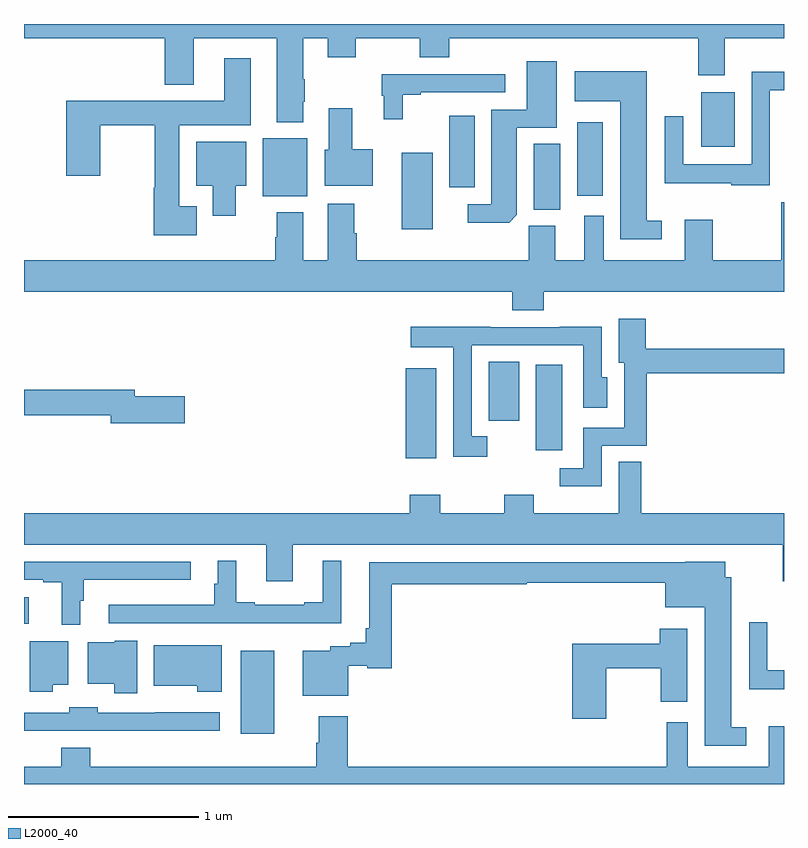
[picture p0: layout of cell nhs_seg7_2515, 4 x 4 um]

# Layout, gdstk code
import gdstk
lib = gdstk.Library(unit=1e-6, precision=1e-09)
def R(c, l, rs):  # rectangles x0, y0, x1, y1
    for r in rs: c.add(gdstk.rectangle(r[:2], r[2:], *l))
def P(c, l, *ps):  # polygons
    for p in ps: c.add(gdstk.Polygon(p, *l))
L2000_40 = (2000, 40)

nhs_seg7_2515 = lib.new_cell('nhs_seg7_2515')
R(nhs_seg7_2515, L2000_40, [(276.14,1022.264,276.316,1022.701), (275,1022.843,275.026,1022.983), (277.01,1023.714,277.171,1024.189), (277.694,1023.756,277.834,1024.207), (277.445,1023.912,277.606,1024.223), (276.989,1024.92,277.15,1025.323), (277.682,1025.023,277.822,1025.369), (276.257,1025.093,276.49,1025.398), (277.913,1025.097,278.047,1025.482), (277.238,1025.142,277.372,1025.518), (278.564,1025.354,278.74,1025.641)])
P(nhs_seg7_2515, L2000_40, [(276.469,1025.59),(276.477,1025.59),(276.477,1025.709),(276.469,1025.709),(276.469,1025.924),(276.599,1025.924),(276.599,1025.825),(276.747,1025.825),(276.747,1025.924),(277.084,1025.924),(277.084,1025.825),(277.239,1025.825),(277.239,1025.924),(278.549,1025.924),(278.549,1025.73),(278.689,1025.73),(278.689,1025.924),(279,1025.924),(279,1026),(275,1026),(275,1025.924),(275.741,1025.924),(275.741,1025.681),(275.893,1025.681),(275.893,1025.924),(276.329,1025.924),(276.329,1025.483),(276.469,1025.483)],
  [(275.908,1025.041),(275.818,1025.041),(275.818,1025.468),(276.193,1025.468),(276.193,1025.821),(276.053,1025.821),(276.053,1025.596),(275.222,1025.596),(275.222,1025.202),(275.4,1025.202),(275.4,1025.467),(275.689,1025.467),(275.689,1025.137),(275.684,1025.137),(275.684,1024.889),(275.908,1024.889)],
  [(277.594,1024.996),(277.594,1025.454),(277.804,1025.454),(277.804,1025.805),(277.646,1025.805),(277.646,1025.55),(277.46,1025.55),(277.46,1025.052),(277.335,1025.052),(277.335,1024.955),(277.553,1024.955)],
  [(278.356,1024.964),(278.278,1024.964),(278.278,1025.752),(277.898,1025.752),(277.898,1025.594),(278.138,1025.594),(278.138,1024.866),(278.356,1024.866)],
  [(278.925,1025.652),(279,1025.652),(279,1025.749),(278.829,1025.749),(278.829,1025.263),(278.469,1025.263),(278.469,1025.515),(278.373,1025.515),(278.373,1025.162),(278.722,1025.162),(278.722,1025.152),(278.925,1025.152)],
  [(276.993,1025.628),(277.087,1025.628),(277.087,1025.64),(277.534,1025.64),(277.534,1025.736),(276.882,1025.736),(276.882,1025.622),(276.893,1025.622),(276.893,1025.499),(276.993,1025.499)],
  [(276.835,1025.341),(276.727,1025.341),(276.727,1025.557),(276.605,1025.557),(276.605,1025.337),(276.584,1025.337),(276.584,1025.15),(276.835,1025.15)],
  [(276.115,1025.15),(276.169,1025.15),(276.169,1025.38),(275.906,1025.38),(275.906,1025.15),(275.993,1025.15),(275.993,1024.992),(276.115,1024.992)],
  [(277.736,1024.592),(279,1024.592),(279,1025.061),(278.986,1025.061),(278.986,1024.756),(278.625,1024.756),(278.625,1024.969),(278.477,1024.969),(278.477,1024.756),(278.05,1024.756),(278.05,1024.99),(277.949,1024.99),(277.949,1024.756),(277.795,1024.756),(277.795,1024.938),(277.657,1024.938),(277.657,1024.756),(276.752,1024.756),(276.752,1024.898),(276.739,1024.898),(276.739,1025.055),(276.599,1025.055),(276.599,1024.756),(276.469,1024.756),(276.469,1025.008),(276.329,1025.008),(276.329,1024.877),(276.322,1024.877),(276.322,1024.756),(275,1024.756),(275,1024.592),(277.571,1024.592),(277.571,1024.493),(277.736,1024.493)],
  [(278.04,1023.78),(278.278,1023.78),(278.278,1024.162),(279,1024.162),(279,1024.291),(278.273,1024.291),(278.273,1024.45),(278.129,1024.45),(278.129,1024.217),(278.159,1024.217),(278.159,1023.876),(277.944,1023.876),(277.944,1023.663),(277.821,1023.663),(277.821,1023.566),(278.04,1023.566)],
  [(277.438,1023.831),(277.356,1023.831),(277.356,1024.308),(277.944,1024.308),(277.944,1023.981),(278.071,1023.981),(278.071,1024.14),(278.04,1024.14),(278.04,1024.406),(277.819,1024.406),(277.819,1024.404),(277.453,1024.404),(277.453,1024.406),(277.035,1024.406),(277.035,1024.298),(277.26,1024.298),(277.26,1023.723),(277.438,1023.723)],
  [(275.845,1024.04),(275.584,1024.04),(275.584,1024.076),(275,1024.076),(275,1023.94),(275.456,1023.94),(275.456,1023.898),(275.845,1023.898)],
  [(276.415,1023.26),(278.993,1023.26),(278.993,1023.066),(279,1023.066),(279,1023.424),(278.248,1023.424),(278.248,1023.695),(278.129,1023.695),(278.129,1023.424),(277.683,1023.424),(277.683,1023.523),(277.528,1023.523),(277.528,1023.424),(277.191,1023.424),(277.191,1023.523),(277.031,1023.523),(277.031,1023.424),(275,1023.424),(275,1023.26),(276.275,1023.26),(276.275,1023.066),(276.415,1023.066)],
  [(276.67,1023.175),(276.572,1023.175),(276.572,1022.956),(276.476,1022.956),(276.476,1022.943),(276.214,1022.943),(276.214,1022.956),(276.118,1022.956),(276.118,1023.175),(276.02,1023.175),(276.02,1023.054),(276.001,1023.054),(276.001,1022.944),(275.445,1022.944),(275.445,1022.847),(276.144,1022.847),(276.144,1022.846),(276.67,1022.846)],
  [(275.296,1022.964),(275.315,1022.964),(275.315,1023.074),(275.878,1023.074),(275.878,1023.171),(275,1023.171),(275,1023.075),(275.102,1023.075),(275.102,1023.063),(275.198,1023.063),(275.198,1022.838),(275.296,1022.838)],
  [(278.8,1022.3),(278.722,1022.3),(278.722,1023.088),(278.692,1023.088),(278.692,1023.169),(278.479,1023.169),(278.479,1023.168),(276.818,1023.168),(276.818,1022.821),(276.799,1022.821),(276.799,1022.744),(276.717,1022.744),(276.717,1022.724),(276.612,1022.724),(276.612,1022.701),(276.467,1022.701),(276.467,1022.465),(276.706,1022.465),(276.706,1022.623),(276.807,1022.623),(276.807,1022.608),(276.935,1022.608),(276.935,1023.052),(277.646,1023.052),(277.646,1023.06),(278.375,1023.06),(278.375,1022.93),(278.582,1022.93),(278.582,1022.202),(278.8,1022.202)],
  [(279,1022.599),(278.913,1022.599),(278.913,1022.851),(278.817,1022.851),(278.817,1022.498),(279,1022.498)],
  [(278.064,1022.608),(278.35,1022.608),(278.35,1022.433),(278.491,1022.433),(278.491,1022.818),(278.345,1022.818),(278.345,1022.737),(277.886,1022.737),(277.886,1022.343),(278.064,1022.343)],
  [(275.596,1022.755),(275.478,1022.755),(275.478,1022.746),(275.336,1022.746),(275.336,1022.528),(275.474,1022.528),(275.474,1022.478),(275.596,1022.478)],
  [(275.152,1022.522),(275.233,1022.522),(275.233,1022.752),(275.03,1022.752),(275.03,1022.486),(275.152,1022.486)],
  [(276.04,1022.731),(275.684,1022.731),(275.684,1022.516),(275.911,1022.516),(275.911,1022.486),(276.04,1022.486)],
  [(276.031,1022.377),(275.692,1022.377),(275.692,1022.376),(275.388,1022.376),(275.388,1022.404),(275.238,1022.404),(275.238,1022.376),(275,1022.376),(275,1022.279),(276.031,1022.279)],
  [(279,1022.305),(278.921,1022.305),(278.921,1022.092),(278.494,1022.092),(278.494,1022.326),(278.383,1022.326),(278.383,1022.092),(276.704,1022.092),(276.704,1022.356),(276.551,1022.356),(276.551,1022.216),(276.539,1022.216),(276.539,1022.092),(275.348,1022.092),(275.348,1022.191),(275.195,1022.191),(275.195,1022.092),(275,1022.092),(275,1022),(279,1022)])

lib.write_gds('nhs_seg7_2515.gds')
